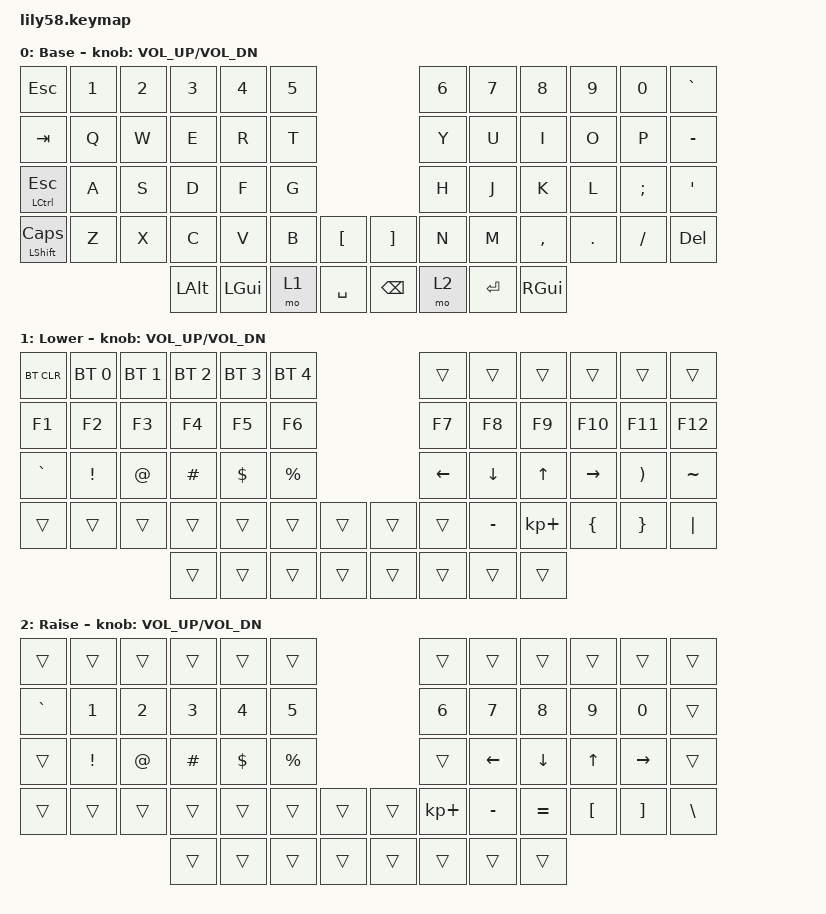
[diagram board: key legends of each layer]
/*
 * Copyright (c) 2020 The ZMK Contributors
 *
 * SPDX-License-Identifier: MIT
 */

#include <behaviors.dtsi>
#include <dt-bindings/zmk/keys.h>
#include <dt-bindings/zmk/bt.h>
#include <dt-bindings/zmk/ext_power.h>

/ {
    keymap {
        compatible = "zmk,keymap";

        default_layer {
// ------------------------------------------------------------------------------------------------------------
// |  ESC  |  1  |  2  |  3   |  4   |  5   |                   |  6   |  7    |  8    |  9   |   0   |   `   |
// |  TAB  |  Q  |  W  |  E   |  R   |  T   |                   |  Y   |  U    |  I    |  O   |   P   |   -   |
// |  ESC + CTRL |  A  |  S  |  D   |  F   |  G   |                   |  H   |  J    |  K    |  L   |   ;   |   '   |
// | SHIFT + CAP|  Z  |  X  |  C   |  V   |  B   |   "["  |  |  "]"  |  N   |  M    |  ,    |  .   |   /   | SHIFT |
//                     | ALT  | GUI  | LOWER|  SPACE |  | ENTER | RAISE| BSPC  | GUI   |
            display-name = "Base";
            bindings = <
&kp ESC   &kp N1 &kp N2 &kp N3   &kp N4   &kp N5                     &kp N6 &kp N7   &kp N8    &kp N9  &kp N0   &kp GRAVE
&kp TAB   &kp Q  &kp W  &kp E    &kp R    &kp T                      &kp Y  &kp U    &kp I     &kp O   &kp P    &kp MINUS
&mt LCTRL ESC &kp A  &kp S  &kp D    &kp F    &kp G                      &kp H  &kp J    &kp K     &kp L   &kp SEMI &kp SQT
&mt LSHFT CAPS &kp Z  &kp X  &kp C    &kp V    &kp B  &kp LBKT   &kp RBKT &kp N  &kp M    &kp COMMA &kp DOT &kp FSLH &kp DEL
                        &kp LALT &kp LGUI &mo 1  &kp SPACE  &kp BSPC  &mo 2  &kp RET &kp RGUI
            >;

            sensor-bindings = <&inc_dec_kp C_VOL_UP C_VOL_DN>;
        };

        lower_layer {
// ------------------------------------------------------------------------------------------------------------
// | BTCLR | BT1 | BT2 |  BT3 |  BT4 |  BT5 |                   |      |       |       |      |       |       |
// |  F1   |  F2 |  F3 |  F4  |  F5  |  F6  |                   |  F7  |  F8   |  F9   |  F10 |  F11  |  F12  |
// |   `   |  !  |  @  |  #   |  $   |  %   |                   |  <-   |  v    |  ^    |  ->  |   )   |   ~   |
// |       |     |     |      |      |      |        |  |       |      |  _    |  +    |  {   |   }   |  "|"  |
//                     |      |      |      |        |  |       |      |       |       |
            display-name = "Lower";
            bindings = <
&bt BT_CLR &bt BT_SEL 0     &bt BT_SEL 1      &bt BT_SEL 2      &bt BT_SEL 3 &bt BT_SEL 4                 &trans    &trans    &trans          &trans    &trans    &trans
&kp F1     &kp F2           &kp F3            &kp F4            &kp F5       &kp F6                       &kp F7    &kp F8    &kp F9          &kp F10   &kp F11   &kp F12
&kp GRAVE  &kp EXCL         &kp AT            &kp HASH          &kp DOLLAR   &kp PRCNT                    &kp LEFT &kp DOWN  &kp UP &kp RIGHT  &kp RPAR  &kp TILDE
&trans     &trans           &trans            &trans            &trans       &trans    &trans   &trans    &trans    &kp MINUS &kp KP_PLUS     &kp LBRC  &kp RBRC  &kp PIPE
                                              &trans            &trans       &trans    &trans   &trans    &trans    &trans    &trans
            >;

            sensor-bindings = <&inc_dec_kp C_VOL_UP C_VOL_DN>;
        };

        raise_layer {
// ------------------------------------------------------------------------------------------------------------
// |       |     |     |      |      |      |                   |      |       |       |      |       |       |
// |   `   |  1  |  2  |  3   |  4   |  5   |                   |  6   |   7   |   8   |  9   |   0   |       |
// |       |  !  |  @  |  #   |  $   |  %   |                   |      |   <-  |   v   |  ^   |  ->   |       |
// |       |     |     |      |      |      |        |  |       |  +   |   -   |   =   |  [   |   ]   |   \   |
//                     |      |      |      |        |  |       |      |       |       |
            display-name = "Raise";
            bindings = <
&trans    &trans &trans &trans  &trans  &trans                       &trans      &trans    &trans    &trans   &trans    &trans
&kp GRAVE &kp N1 &kp N2 &kp N3  &kp N4  &kp N5                       &kp N6      &kp N7    &kp N8    &kp N9   &kp N0    &trans
&trans    &kp EXCL &kp AT &kp HASH  &kp DOLLAR  &kp PRCNT                       &trans      &kp LEFT  &kp DOWN  &kp UP   &kp RIGHT &trans
&trans    &trans &trans &trans &trans &trans   &trans   &trans    &kp KP_PLUS &kp MINUS &kp EQUAL &kp LBKT &kp RBKT  &kp BSLH
                        &trans  &trans  &trans    &trans   &trans    &trans      &trans    &trans
            >;

            sensor-bindings = <&inc_dec_kp C_VOL_UP C_VOL_DN>;
        };
    };
};
